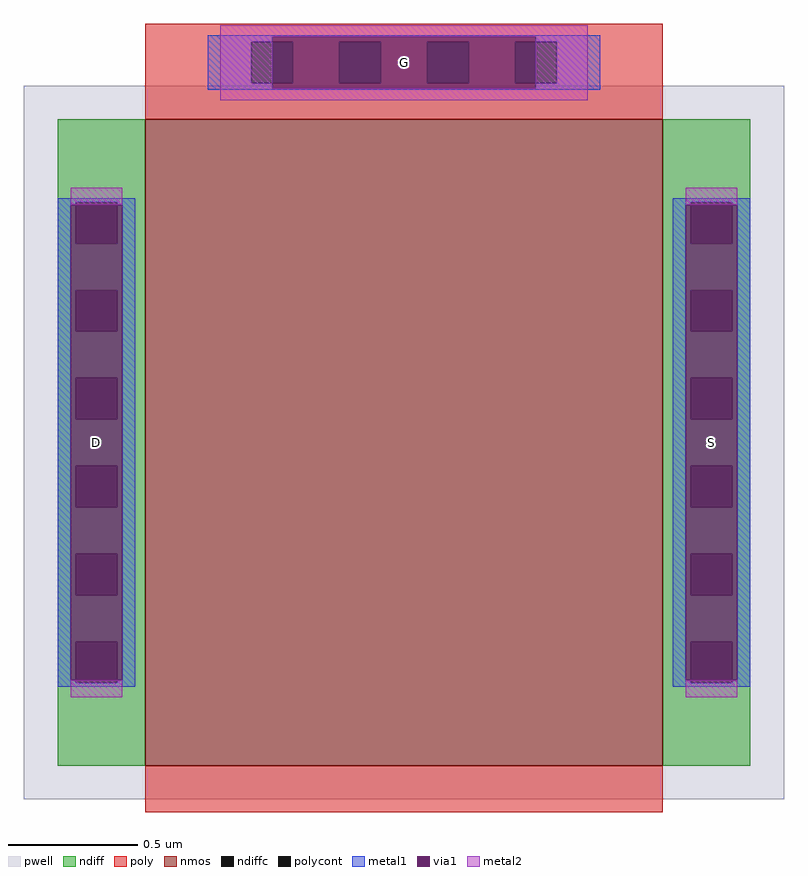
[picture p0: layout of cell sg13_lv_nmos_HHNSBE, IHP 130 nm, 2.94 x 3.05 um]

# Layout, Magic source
magic
tech ihp-sg13g2
magscale 1 2
<< pwell >>
rect -294 -295 294 257
<< nmos >>
rect -200 -269 200 231
<< ndiff >>
rect -268 167 -200 231
rect -268 135 -254 167
rect -222 135 -200 167
rect -268 99 -200 135
rect -268 67 -254 99
rect -222 67 -200 99
rect -268 31 -200 67
rect -268 -1 -254 31
rect -222 -1 -200 31
rect -268 -37 -200 -1
rect -268 -69 -254 -37
rect -222 -69 -200 -37
rect -268 -105 -200 -69
rect -268 -137 -254 -105
rect -222 -137 -200 -105
rect -268 -173 -200 -137
rect -268 -205 -254 -173
rect -222 -205 -200 -173
rect -268 -269 -200 -205
rect 200 167 268 231
rect 200 135 222 167
rect 254 135 268 167
rect 200 99 268 135
rect 200 67 222 99
rect 254 67 268 99
rect 200 31 268 67
rect 200 -1 222 31
rect 254 -1 268 31
rect 200 -37 268 -1
rect 200 -69 222 -37
rect 254 -69 268 -37
rect 200 -105 268 -69
rect 200 -137 222 -105
rect 254 -137 268 -105
rect 200 -173 268 -137
rect 200 -205 222 -173
rect 254 -205 268 -173
rect 200 -269 268 -205
<< ndiffc >>
rect -254 135 -222 167
rect -254 67 -222 99
rect -254 -1 -222 31
rect -254 -69 -222 -37
rect -254 -137 -222 -105
rect -254 -205 -222 -173
rect 222 135 254 167
rect 222 67 254 99
rect 222 -1 254 31
rect 222 -69 254 -37
rect 222 -137 254 -105
rect 222 -205 254 -173
<< poly >>
rect -200 291 200 305
rect -200 259 -118 291
rect -86 259 -50 291
rect -18 259 18 291
rect 50 259 86 291
rect 118 259 200 291
rect -200 231 200 259
rect -200 -305 200 -269
<< polycont >>
rect -118 259 -86 291
rect -50 259 -18 291
rect 18 259 50 291
rect 86 259 118 291
<< metal1 >>
rect -152 295 152 296
rect -152 291 -102 295
rect 102 291 152 295
rect -152 259 -118 291
rect 118 259 152 291
rect -152 255 -102 259
rect 102 255 152 259
rect -152 254 152 255
rect -268 167 -208 170
rect -268 165 -254 167
rect -222 165 -208 167
rect -268 -203 -258 165
rect -218 -203 -208 165
rect -268 -205 -254 -203
rect -222 -205 -208 -203
rect -268 -208 -208 -205
rect 208 167 268 170
rect 208 165 222 167
rect 254 165 268 167
rect 208 -203 218 165
rect 258 -203 268 165
rect 208 -205 222 -203
rect 254 -205 268 -203
rect 208 -208 268 -205
<< via1 >>
rect -102 291 102 295
rect -102 259 -86 291
rect -86 259 -50 291
rect -50 259 -18 291
rect -18 259 18 291
rect 18 259 50 291
rect 50 259 86 291
rect 86 259 102 291
rect -102 255 102 259
rect -258 135 -254 165
rect -254 135 -222 165
rect -222 135 -218 165
rect -258 99 -218 135
rect -258 67 -254 99
rect -254 67 -222 99
rect -222 67 -218 99
rect -258 31 -218 67
rect -258 -1 -254 31
rect -254 -1 -222 31
rect -222 -1 -218 31
rect -258 -37 -218 -1
rect -258 -69 -254 -37
rect -254 -69 -222 -37
rect -222 -69 -218 -37
rect -258 -105 -218 -69
rect -258 -137 -254 -105
rect -254 -137 -222 -105
rect -222 -137 -218 -105
rect -258 -173 -218 -137
rect -258 -203 -254 -173
rect -254 -203 -222 -173
rect -222 -203 -218 -173
rect 218 135 222 165
rect 222 135 254 165
rect 254 135 258 165
rect 218 99 258 135
rect 218 67 222 99
rect 222 67 254 99
rect 254 67 258 99
rect 218 31 258 67
rect 218 -1 222 31
rect 222 -1 254 31
rect 254 -1 258 31
rect 218 -37 258 -1
rect 218 -69 222 -37
rect 222 -69 254 -37
rect 254 -69 258 -37
rect 218 -105 258 -69
rect 218 -137 222 -105
rect 222 -137 254 -105
rect 254 -137 258 -105
rect 218 -173 258 -137
rect 218 -203 222 -173
rect 222 -203 254 -173
rect 254 -203 258 -173
<< metal2 >>
rect -142 295 142 304
rect -142 255 -102 295
rect 102 255 142 295
rect -142 246 142 255
rect -258 165 -218 178
rect -258 -216 -218 -203
rect 218 165 258 178
rect 218 -216 258 -203
<< labels >>
rlabel metal1 s -238 -19 -238 -19 4 D
rlabel metal1 s 238 -19 238 -19 4 S
rlabel metal1 s 0 275 0 275 4 G
<< end >>
